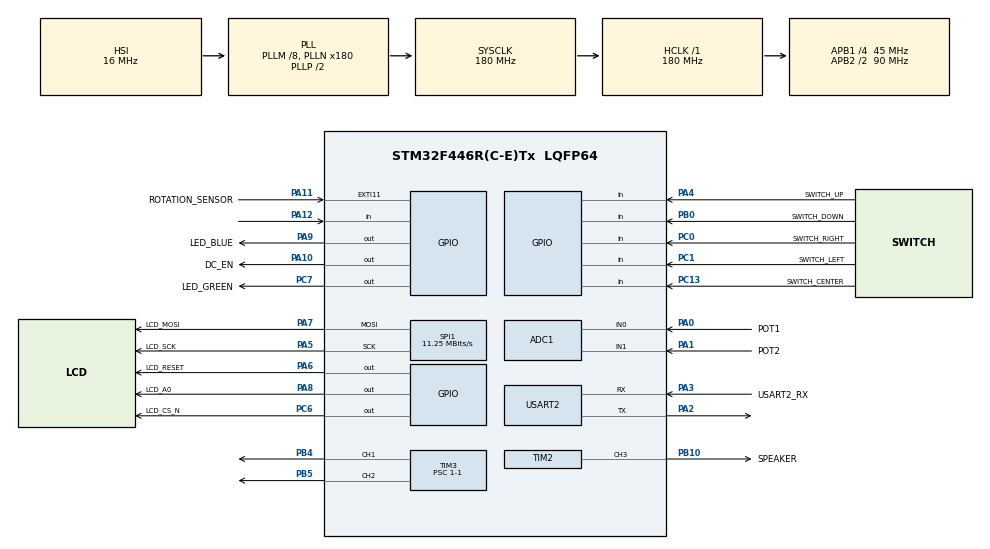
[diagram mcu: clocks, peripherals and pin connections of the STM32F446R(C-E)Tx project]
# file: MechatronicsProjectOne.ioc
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ADC1.Channel-1\#ChannelRegularConversion=ADC_CHANNEL_0
ADC1.Channel-2\#ChannelRegularConversion=ADC_CHANNEL_1
ADC1.ContinuousConvMode=ENABLE
ADC1.DMAContinuousRequests=ENABLE
ADC1.EOCSelection=ADC_EOC_SEQ_CONV
ADC1.InjNumberOfConversion=0
ADC1.NbrOfConversion=2
ADC1.NbrOfConversionFlag=1
ADC1.Rank-1\#ChannelRegularConversion=1
ADC1.Rank-2\#ChannelRegularConversion=2
ADC1.SamplingTime-1\#ChannelRegularConversion=ADC_SAMPLETIME_480CYCLES
ADC1.SamplingTime-2\#ChannelRegularConversion=ADC_SAMPLETIME_480CYCLES
ADC1.ScanConvMode=ENABLE
ADC1.master=1
Dma.ADC1.0.Direction=DMA_PERIPH_TO_MEMORY
Dma.ADC1.0.FIFOMode=DMA_FIFOMODE_DISABLE
Dma.ADC1.0.Instance=DMA2_Stream0
Dma.ADC1.0.MemDataAlignment=DMA_MDATAALIGN_HALFWORD
Dma.ADC1.0.MemInc=DMA_MINC_ENABLE
Dma.ADC1.0.Mode=DMA_CIRCULAR
Dma.ADC1.0.PeriphDataAlignment=DMA_PDATAALIGN_HALFWORD
Dma.ADC1.0.PeriphInc=DMA_PINC_DISABLE
Dma.ADC1.0.Priority=DMA_PRIORITY_LOW
Dma.Request0=ADC1
Dma.Request1=USART2_TX
Dma.USART2_TX.1.Direction=DMA_MEMORY_TO_PERIPH
Dma.USART2_TX.1.FIFOMode=DMA_FIFOMODE_DISABLE
Dma.USART2_TX.1.Instance=DMA1_Stream6
Dma.USART2_TX.1.MemDataAlignment=DMA_MDATAALIGN_BYTE
Dma.USART2_TX.1.MemInc=DMA_MINC_ENABLE
Dma.USART2_TX.1.Mode=DMA_NORMAL
Dma.USART2_TX.1.PeriphDataAlignment=DMA_PDATAALIGN_BYTE
Dma.USART2_TX.1.PeriphInc=DMA_PINC_DISABLE
Dma.USART2_TX.1.Priority=DMA_PRIORITY_LOW
Mcu.Family=STM32F4
Mcu.Name=STM32F446R(C-E)Tx
Mcu.Package=LQFP64
NVIC.DMA1_Stream6_IRQn=true\:0\:0\:false\:false\:true\:false\:true\:true
NVIC.DMA2_Stream0_IRQn=true\:0\:0\:false\:false\:true\:false\:true\:true
NVIC.EXTI15_10_IRQn=true\:0\:0\:false\:false\:true\:true\:true\:true
NVIC.PriorityGroup=NVIC_PRIORITYGROUP_4
NVIC.TIM6_DAC_IRQn=true\:0\:0\:false\:false\:true\:true\:true\:true
NVIC.USART2_IRQn=true\:0\:0\:false\:false\:true\:true\:true\:true
PA0-WKUP.GPIO_Label=POT1
PA0-WKUP.Signal=ADCx_IN0
PA1.GPIO_Label=POT2
PA1.Signal=ADCx_IN1
PA10.GPIO_Label=DC_EN
PA10.Signal=GPIO_Output
PA11.GPIO_Label=ROTATION_SENSOR
PA11.Signal=GPXTI11
PA12.Signal=GPIO_Input
PA13.Mode=Serial_Wire
PA13.Signal=SYS_JTMS-SWDIO
PA14.Mode=Serial_Wire
PA14.Signal=SYS_JTCK-SWCLK
PA2.Mode=Asynchronous
PA2.Signal=USART2_TX
PA3.GPIO_Label=USART2_RX
PA3.Mode=Asynchronous
PA3.Signal=USART2_RX
PA4.GPIO_Label=SWITCH_UP
PA4.Signal=GPIO_Input
PA5.GPIO_Label=LCD_SCK
PA5.Mode=TX_Only_Simplex_Unidirect_Master
PA5.Signal=SPI1_SCK
PA6.GPIO_Label=LCD_RESET
PA6.Signal=GPIO_Output
PA7.GPIO_Label=LCD_MOSI
PA7.Mode=TX_Only_Simplex_Unidirect_Master
PA7.Signal=SPI1_MOSI
PA8.GPIO_Label=LCD_A0
PA8.Signal=GPIO_Output
PA9.GPIO_Label=LED_BLUE
PA9.Signal=GPIO_Output
PB0.GPIO_Label=SWITCH_DOWN
PB0.Signal=GPIO_Input
PB10.GPIO_Label=SPEAKER
PB10.Signal=S_TIM2_CH3
PB4.GPIO_ModeDefaultPP=GPIO_MODE_AF_PP
PB4.Signal=S_TIM3_CH1
PB5.GPIO_ModeDefaultPP=GPIO_MODE_AF_PP
PB5.Signal=S_TIM3_CH2
PB8.Signal=S_TIM2_CH1_ETR
PC0.GPIO_Label=SWITCH_RIGHT
PC0.Signal=GPIO_Input
PC1.GPIO_Label=SWITCH_LEFT
PC1.Signal=GPIO_Input
PC13.GPIO_Label=SWITCH_CENTER
PC13.Signal=GPIO_Input
PC14-OSC32_IN.Mode=LSE-External-Oscillator
PC14-OSC32_IN.Signal=RCC_OSC32_IN
PC15-OSC32_OUT.Mode=LSE-External-Oscillator
PC15-OSC32_OUT.Signal=RCC_OSC32_OUT
PC6.GPIO_Label=LCD_CS_N
PC6.Signal=GPIO_Output
PC7.GPIO_Label=LED_GREEN
PC7.Signal=GPIO_Output
ProjectManager.HeapSize=0x200
ProjectManager.StackSize=0x400
ProjectManager.TargetToolchain=Makefile
RCC.AHBFreq_Value=180000000
RCC.APB1CLKDivider=RCC_HCLK_DIV4
RCC.APB1Freq_Value=45000000
RCC.APB1TimFreq_Value=90000000
RCC.APB2CLKDivider=RCC_HCLK_DIV2
RCC.APB2Freq_Value=90000000
RCC.APB2TimFreq_Value=180000000
RCC.CortexFreq_Value=180000000
RCC.HCLKFreq_Value=180000000
RCC.PLLM=8
RCC.PLLN=180
RCC.SYSCLKFreq_VALUE=180000000
RCC.SYSCLKSource=RCC_SYSCLKSOURCE_PLLCLK
RCC.USBFreq_Value=180000000
RCC.VCOOutputFreq_Value=360000000
SH.ADCx_IN0.0=ADC1_IN0,IN0
SH.ADCx_IN1.0=ADC1_IN1,IN1
SH.S_TIM2_CH1_ETR.0=TIM2_CH1
SH.S_TIM2_CH3.0=TIM2_CH3,Output Compare3 CH3
SH.S_TIM3_CH1.0=TIM3_CH1,PWM Generation1 CH1
SH.S_TIM3_CH2.0=TIM3_CH2,PWM Generation2 CH2
SPI1.BaudRatePrescaler=SPI_BAUDRATEPRESCALER_8
SPI1.CalculateBaudRate=11.25 MBits/s
SPI1.Direction=SPI_DIRECTION_2LINES
SPI1.Mode=SPI_MODE_MASTER
SPI1.VirtualType=VM_MASTER
TIM2.AutoReloadPreload=TIM_AUTORELOAD_PRELOAD_ENABLE
TIM2.Channel-Output\ Compare3\ CH3=TIM_CHANNEL_3
TIM2.OCMode_3=TIM_OCMODE_TOGGLE
TIM2.Period=500-1
TIM2.Prescaler=2812-1
TIM3.AutoReloadPreload=TIM_AUTORELOAD_PRELOAD_DISABLE
TIM3.Channel-PWM\ Generation1\ CH1=TIM_CHANNEL_1
TIM3.Channel-PWM\ Generation2\ CH2=TIM_CHANNEL_2
TIM3.CounterMode=TIM_COUNTERMODE_DOWN
TIM3.OCMode_PWM-PWM\ Generation2\ CH2=TIM_OCMODE_PWM1
TIM3.OCPolarity_2=TIM_OCPOLARITY_LOW
TIM3.Period=4096-1
TIM3.Prescaler=1-1
TIM3.Pulse-PWM\ Generation1\ CH1=2048-1
TIM3.Pulse-PWM\ Generation2\ CH2=2048-1
TIM6.Period=10000
TIM6.Prescaler=9000
USART2.VirtualMode=VM_ASYNC
VP_TIM2_VS_ClockSourceINT.Mode=Internal
VP_TIM6_VS_ClockSourceINT.Mode=Enable_Timer
board=custom

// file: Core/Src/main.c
/* USER CODE BEGIN Header */
/**
  ******************************************************************************
  * @file           : main.c
  * @brief          : Main program body
  ******************************************************************************
  * @attention
  *
  * Copyright (c) 2024 STMicroelectronics.
  * All rights reserved.
  *
  * This software is licensed under terms that can be found in the LICENSE file
  * in the root directory of this software component.
  * If no LICENSE file comes with this software, it is provided AS-IS.
  *
  ******************************************************************************
  */
/* USER CODE END Header */
#include "main.h"
#include "adc.h"
#include "dma.h"
#include "spi.h"
#include "tim.h"
#include "usart.h"
#include "gpio.h"
/* USER CODE BEGIN Includes */
#include "joyStick.h"
#include "lcd_menu_definition.h"
#include "my_event_handler.h"
/* USER CODE END Includes */

/* USER CODE BEGIN PTD */

volatile int32_t ms_menu_ticks, ms_sample_ticks, ms_smooth_ticks = 0;
AppData main_data = {0};
uint16_t pot1_sums, pot2_sums = 0;

/* USER CODE END PTD */

void SystemClock_Config(void);

/* USER CODE BEGIN 0 */
void HAL_GPIO_EXTI_Callback(uint16_t GPIO_Pin) {
  if(GPIO_Pin == ROTATION_SENSOR_Pin) {
    main_data.current.rotation_counter++;
  }
}

void HAL_SYSTICK_Callback(void) {
	ms_menu_ticks++;
	ms_sample_ticks++;
  ms_smooth_ticks++;
}

void HAL_TIM_PeriodElapsedCallback(TIM_HandleTypeDef *htim) {
  if(htim == &htim6) {
    main_data.current.rotation_speed = main_data.current.rotation_counter*30;
    main_data.current.rotation_counter = 0;
  }
}

/* USER CODE END 0 */

int main(void)
{

  /* MCU Configuration--------------------------------------------------------*/

  /* Reset of all peripherals, Initializes the Flash interface and the Systick. */
  HAL_Init();

  /* Configure the system clock */
  SystemClock_Config();

  /* USER CODE BEGIN SysInit */

  /** Configure the Systick interrupt time */
  HAL_SYSTICK_Config(HAL_RCC_GetHCLKFreq()/1000);
  /** Configure the Systick */
  HAL_SYSTICK_CLKSourceConfig(SYSTICK_CLKSOURCE_HCLK);
  /* SysTick_IRQn interrupt configuration */
  HAL_NVIC_SetPriority(SysTick_IRQn, 0, 0);

  /* USER CODE END SysInit */

  /* Initialize all configured peripherals */
  MX_GPIO_Init();
  MX_DMA_Init();
  MX_TIM6_Init();
  MX_ADC1_Init();
  MX_USART2_UART_Init();
  MX_SPI1_Init();
  MX_TIM3_Init();
  MX_TIM2_Init();
  /* USER CODE BEGIN 2 */

  lcd_init();

  main_data.current.PSC_on = 0;
  main_data.current.mode = CLOCK_WISE;
  main_data.current.number_of_samples = 5;

  menu_setMainMenu(&mainMenu);
  Joystick joystick;
  Joystick_init(&joystick);

  menu_navigation next_navigation = MENU_NOP;
  menu_event event = MENU_NO_EVENT;
  menu_event current_event = MENU_NO_EVENT;

  HAL_ADC_Start_DMA(&hadc1,(uint32_t *) &main_data.current.pot1,2);

  menu_registerDrawMenuItem2(drawMenuItem_Callback2, &main_data);

  HAL_TIM_Base_Start_IT(&htim6);

 	HAL_GPIO_WritePin(LED_BLUE_GPIO_Port, LED_BLUE_Pin, 0);
 	HAL_GPIO_WritePin(LED_GREEN_GPIO_Port, LED_GREEN_Pin, 1);

  screen_setup();
  /* USER CODE END 2 */

  /* Infinite loop */
  while (1)
  {

    /* USER CODE BEGIN 3 */

    if (ms_sample_ticks >= 1) {
	    ms_sample_ticks = 0;
	    joystick.sample(&joystick);
    }
    if (ms_menu_ticks >= 20) {
      ms_menu_ticks = 0;
      if(ms_smooth_ticks >= (20*main_data.current.number_of_samples)) {
        ms_smooth_ticks = 0;
        main_data.averaged_over_5.pot1 = pot1_sums/main_data.current.number_of_samples;
        main_data.averaged_over_5.pot2 = pot2_sums/main_data.current.number_of_samples;
        pot1_sums = 0;
        pot2_sums = 0;
      }
      pot1_sums += main_data.current.pot1;
      pot2_sums += main_data.current.pot2;
      next_navigation = (menu_navigation)joystick.getDirection(&joystick);
      event = menu_update(next_navigation);
      menu_show();
      check_joystick(next_navigation, current_event, &main_data);

      if(event == MENU_STOP_EVENT) {
        handleMenuExitEvent((int) current_event, &main_data);
        current_event = MENU_NO_EVENT;
      }
      else {
        handleMenuEntryEvent((int) event, &main_data);
        if(event != MENU_NO_EVENT) current_event = event;
      }
    }
  }
  /* USER CODE END 3 */
}

void SystemClock_Config(void)
{
  RCC_OscInitTypeDef RCC_OscInitStruct = {0};
  RCC_ClkInitTypeDef RCC_ClkInitStruct = {0};

  /** Configure the main internal regulator output voltage
  */
  __HAL_RCC_PWR_CLK_ENABLE();
  __HAL_PWR_VOLTAGESCALING_CONFIG(PWR_REGULATOR_VOLTAGE_SCALE1);

  /** Initializes the RCC Oscillators according to the specified parameters
  * in the RCC_OscInitTypeDef structure.
  */
  RCC_OscInitStruct.OscillatorType = RCC_OSCILLATORTYPE_HSI;
  RCC_OscInitStruct.HSIState = RCC_HSI_ON;
  RCC_OscInitStruct.HSICalibrationValue = RCC_HSICALIBRATION_DEFAULT;
  RCC_OscInitStruct.PLL.PLLState = RCC_PLL_ON;
  RCC_OscInitStruct.PLL.PLLSource = RCC_PLLSOURCE_HSI;
  RCC_OscInitStruct.PLL.PLLM = 8;
  RCC_OscInitStruct.PLL.PLLN = 180;
  RCC_OscInitStruct.PLL.PLLP = RCC_PLLP_DIV2;
  RCC_OscInitStruct.PLL.PLLQ = 2;
  RCC_OscInitStruct.PLL.PLLR = 2;
  if (HAL_RCC_OscConfig(&RCC_OscInitStruct) != HAL_OK)
  {
    Error_Handler();
  }

  /** Activate the Over-Drive mode
  */
  if (HAL_PWREx_EnableOverDrive() != HAL_OK)
  {
    Error_Handler();
  }

  /** Initializes the CPU, AHB and APB buses clocks
  */
  RCC_ClkInitStruct.ClockType = RCC_CLOCKTYPE_HCLK|RCC_CLOCKTYPE_SYSCLK
                              |RCC_CLOCKTYPE_PCLK1|RCC_CLOCKTYPE_PCLK2;
  RCC_ClkInitStruct.SYSCLKSource = RCC_SYSCLKSOURCE_PLLCLK;
  RCC_ClkInitStruct.AHBCLKDivider = RCC_SYSCLK_DIV1;
  RCC_ClkInitStruct.APB1CLKDivider = RCC_HCLK_DIV4;
  RCC_ClkInitStruct.APB2CLKDivider = RCC_HCLK_DIV2;

  if (HAL_RCC_ClockConfig(&RCC_ClkInitStruct, FLASH_LATENCY_5) != HAL_OK)
  {
    Error_Handler();
  }
}

void Error_Handler(void)
{
  __disable_irq();
  while (1) {
  }
}
